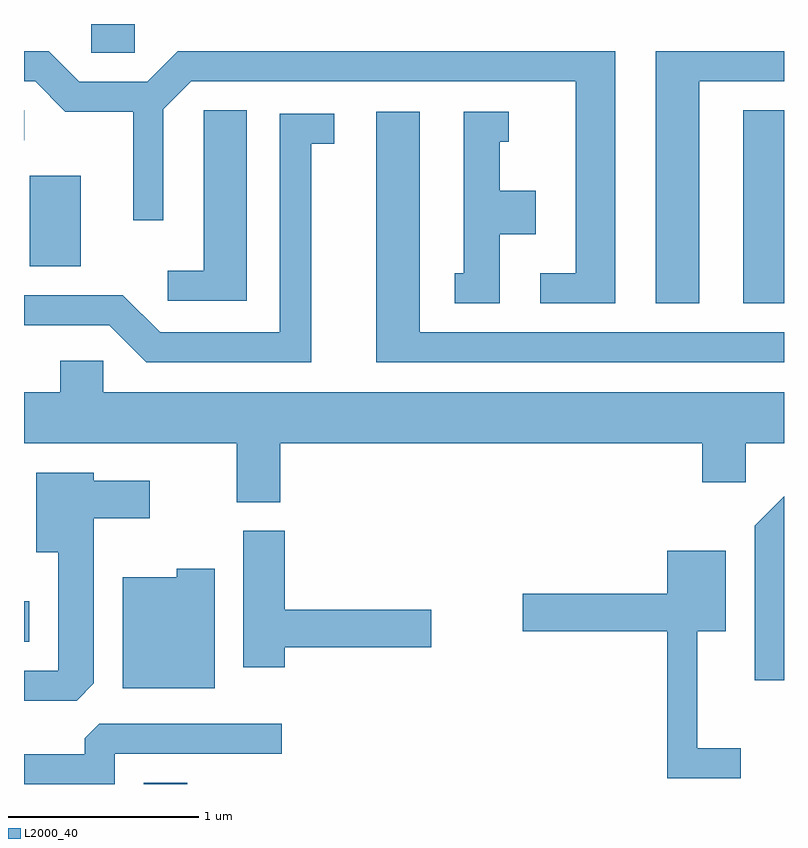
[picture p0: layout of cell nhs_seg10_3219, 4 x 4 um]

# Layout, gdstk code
import gdstk
lib = gdstk.Library(unit=1e-6, precision=1e-09)
def R(c, l, rs):  # rectangles x0, y0, x1, y1
    for r in rs: c.add(gdstk.rectangle(r[:2], r[2:], *l))
def P(c, l, *ps):  # polygons
    for p in ps: c.add(gdstk.Polygon(p, *l))
L2000_40 = (2000, 40)

nhs_seg10_3219 = lib.new_cell('nhs_seg10_3219')
R(nhs_seg10_3219, L2000_40, [(280.241,2156.522,280.469,2156.529), (279.611,2157.271,279.639,2157.484), (283.396,2159.051,283.611,2160.069), (279.641,2159.246,279.909,2159.724), (279.611,2159.911,279.613,2160.069), (279.966,2160.371,280.194,2160.522)])
P(nhs_seg10_3219, L2000_40, [(283.164,2160.221),(283.611,2160.221),(283.611,2160.379),(282.936,2160.379),(282.936,2159.051),(283.164,2159.051)],
  [(282.724,2160.379),(280.419,2160.379),(280.259,2160.219),(279.902,2160.219),(279.742,2160.379),(279.611,2160.379),(279.611,2160.221),(279.669,2160.221),(279.829,2160.061),(280.186,2160.061),(280.186,2159.488),(280.344,2159.488),(280.344,2160.074),(280.492,2160.221),(282.516,2160.221),(282.516,2159.209),(282.328,2159.209),(282.328,2159.051),(282.724,2159.051)],
  [(280.784,2160.069),(280.556,2160.069),(280.556,2159.224),(280.368,2159.224),(280.368,2159.066),(280.784,2159.066)],
  [(283.611,2158.899),(281.694,2158.899),(281.694,2160.059),(281.466,2160.059),(281.466,2158.741),(283.611,2158.741)],
  [(282.114,2159.416),(282.304,2159.416),(282.304,2159.644),(282.114,2159.644),(282.114,2159.901),(282.163,2159.901),(282.163,2160.059),(281.926,2160.059),(281.926,2159.209),(281.878,2159.209),(281.878,2159.051),(282.114,2159.051)],
  [(281.124,2159.891),(281.243,2159.891),(281.243,2160.049),(280.956,2160.049),(280.956,2158.899),(280.327,2158.899),(280.132,2159.094),(279.611,2159.094),(279.611,2158.936),(280.059,2158.936),(280.254,2158.741),(281.124,2158.741)],
  [(280.959,2158.316),(283.181,2158.316),(283.181,2158.111),(283.409,2158.111),(283.409,2158.316),(283.611,2158.316),(283.611,2158.584),(280.029,2158.584),(280.029,2158.749),(279.801,2158.749),(279.801,2158.584),(279.611,2158.584),(279.611,2158.316),(280.731,2158.316),(280.731,2158.006),(280.959,2158.006)],
  [(279.979,2157.052),(279.979,2157.921),(280.274,2157.921),(280.274,2158.119),(279.979,2158.119),(279.979,2158.159),(279.676,2158.159),(279.676,2157.741),(279.791,2157.741),(279.791,2157.119),(279.611,2157.119),(279.611,2156.961),(279.889,2156.961)],
  [(283.611,2158.036),(283.456,2157.882),(283.456,2157.068),(283.611,2157.068)],
  [(280.984,2157.241),(281.754,2157.241),(281.754,2157.439),(280.984,2157.439),(280.984,2157.854),(280.766,2157.854),(280.766,2157.136),(280.984,2157.136)],
  [(283.383,2156.709),(283.154,2156.709),(283.154,2157.326),(283.304,2157.326),(283.304,2157.749),(282.996,2157.749),(282.996,2157.524),(282.236,2157.524),(282.236,2157.326),(282.996,2157.326),(282.996,2156.551),(283.383,2156.551)],
  [(280.614,2157.654),(280.416,2157.654),(280.416,2157.609),(280.131,2157.609),(280.131,2157.026),(280.614,2157.026)],
  [(280.089,2156.681),(280.968,2156.681),(280.968,2156.839),(280.007,2156.839),(279.931,2156.764),(279.931,2156.679),(279.611,2156.679),(279.611,2156.522),(280.089,2156.522)])

lib.write_gds('nhs_seg10_3219.gds')
